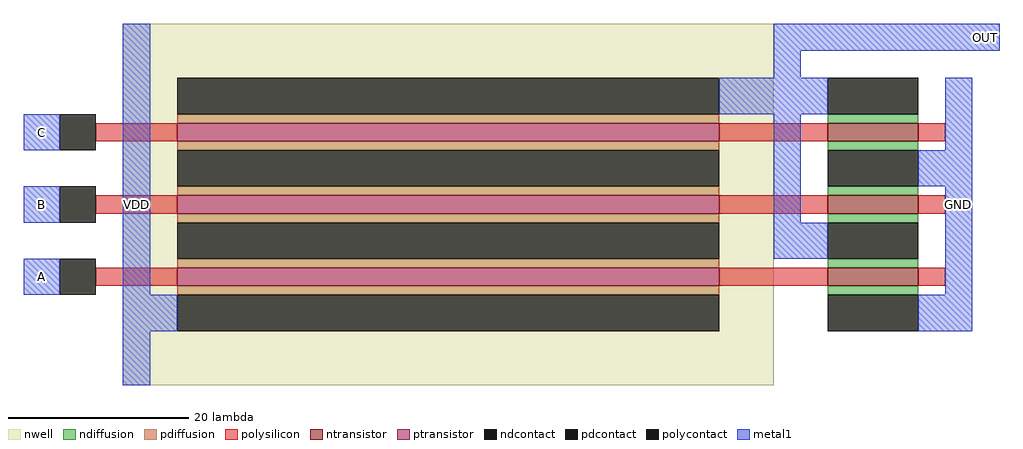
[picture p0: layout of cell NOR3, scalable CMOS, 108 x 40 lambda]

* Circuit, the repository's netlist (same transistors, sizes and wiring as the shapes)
* SPICE3 file created from NOR3.ext - technology: scmos

.option scale=0.09u

M1000 a_11_12# B a_11_4# w_5_n9# cmosp w=60 l=2
+  ad=360 pd=132 as=360 ps=132
M1001 OUT A GND Gnd cmosn w=10 l=2
+  ad=110 pd=62 as=110 ps=62
M1002 OUT C GND Gnd cmosn w=10 l=2
+  ad=0 pd=0 as=0 ps=0
M1003 OUT C a_11_12# w_5_n9# cmosp w=60 l=2
+  ad=300 pd=130 as=0 ps=0
M1004 a_11_4# A VDD w_5_n9# cmosp w=60 l=2
+  ad=0 pd=0 as=300 ps=130
M1005 GND B OUT Gnd cmosn w=10 l=2
+  ad=0 pd=0 as=0 ps=0

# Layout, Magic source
magic
tech scmos
<< nwell >>
rect 5 -9 77 31
<< ntransistor >>
rect 83 18 93 20
rect 83 10 93 12
rect 83 2 93 4
<< ptransistor >>
rect 11 18 71 20
rect 11 10 71 12
rect 11 2 71 4
<< ndiffusion >>
rect 83 20 93 21
rect 83 17 93 18
rect 83 12 93 13
rect 83 9 93 10
rect 83 4 93 5
rect 83 1 93 2
<< pdiffusion >>
rect 11 20 71 21
rect 11 17 71 18
rect 11 12 71 13
rect 11 9 71 10
rect 11 4 71 5
rect 11 1 71 2
<< ndcontact >>
rect 83 21 93 25
rect 83 13 93 17
rect 83 5 93 9
rect 83 -3 93 1
<< pdcontact >>
rect 11 21 71 25
rect 11 13 71 17
rect 11 5 71 9
rect 11 -3 71 1
<< polysilicon >>
rect 2 18 11 20
rect 71 18 83 20
rect 93 18 96 20
rect 2 10 11 12
rect 71 10 83 12
rect 93 10 96 12
rect 2 2 11 4
rect 71 2 83 4
rect 93 2 96 4
<< polycontact >>
rect -2 17 2 21
rect -2 9 2 13
rect -2 1 2 5
<< metal1 >>
rect -6 17 -2 21
rect -6 9 -2 13
rect -6 1 -2 5
rect 5 1 8 31
rect 77 28 102 31
rect 77 25 80 28
rect 71 21 83 25
rect 77 9 80 21
rect 96 17 99 25
rect 93 13 99 17
rect 77 5 83 9
rect 96 1 99 13
rect 5 -3 11 1
rect 93 -3 99 1
rect 5 -9 8 -3
<< labels >>
rlabel metal1 -6 1 -2 5 3 A
rlabel metal1 -6 9 -2 13 3 B
rlabel metal1 -6 17 -2 21 3 C
rlabel metal1 5 -9 8 31 7 VDD
rlabel metal1 96 -3 99 25 7 GND
rlabel metal1 99 28 102 31 6 OUT
<< end >>
